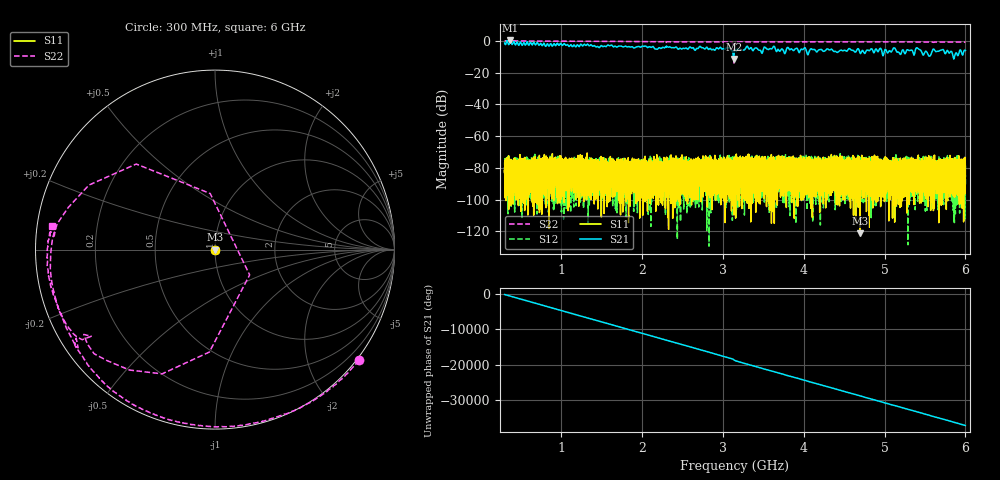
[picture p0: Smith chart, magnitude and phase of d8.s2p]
!Agilent Technologies,N5230C,SG49000117,A.08.50.07
!Agilent N5230C: A.08.50.07
!Date: Sunday, March 17, 2024 08:44:23
!Correction: S11(Off)
!S21(Off)
!S12(Off)
!S22(Full 1 Port(2))
!S2P File: Measurements: S11, S21, S12, S22:
# Hz S  RI  R 50
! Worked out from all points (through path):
!   20001 points, 300 MHz to 6 GHz, reference 50 ohm
!   highest |S21| = 0.32 dB at 371.8 MHz (marker M1); lowest = -11.4 dB at 3.133 GHz (marker M2)
!   lowest |S11| = -121.3 dB at 4.694 GHz (marker M3), VSWR 1.00, Z = 50 + j8.5e-05 ohm
!   |S11| at or under -10 dB: start of sweep to end of sweep
!   |S22| runs from -14.5 to 0.1 dB; largest |S21 - S12| = 1
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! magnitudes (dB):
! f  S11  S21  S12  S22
! 300 MHz  -82.1  -1.3  -83.1  0.1
! 371.8 MHz  -95.8  0.3  -90.2  0.1
! 1.25 GHz  -79.3  -2.4  -88.5  -0.2
! 2.2 GHz  -86.5  -4.8  -86.4  -0.5
! 3.065 GHz  -79.6  -4.3  -77.7  -0.7
! 3.133 GHz  -80.6  -11.4  -77.7  -8.2
! 3.15 GHz  -81.0  -5.4  -83.1  -1.5
! 3.179 GHz  -85.5  -4.8  -82.4  -0.7
! 3.312 GHz  -99.3  -4.0  -76.8  -0.6
! 3.469 GHz  -89.5  -6.3  -81.6  -0.6
! 3.618 GHz  -107.4  -4.1  -76.8  -0.6
! 3.758 GHz  -78.4  -7.2  -95.1  -0.6
! 4.1 GHz  -76.6  -5.1  -76.3  -0.5
! 4.694 GHz  -121.3  -7.1  -107.8  -0.6
! 5.05 GHz  -88.1  -6.7  -85.9  -0.6
! 5.354 GHz  -93.2  -7.7  -80.7  -0.6
! 5.412 GHz  -81.9  -4.7  -85.4  -0.7
! 5.552 GHz  -78.8  -9.6  -90.1  -0.7
! 5.608 GHz  -83.6  -5.3  -75.6  -1.0
! 5.707 GHz  -81.9  -5.6  -83.2  -0.7
! 5.871 GHz  -87.7  -8.7  -83.0  -0.7
! 6 GHz  -79.0  -6.0  -84.9  -0.7
